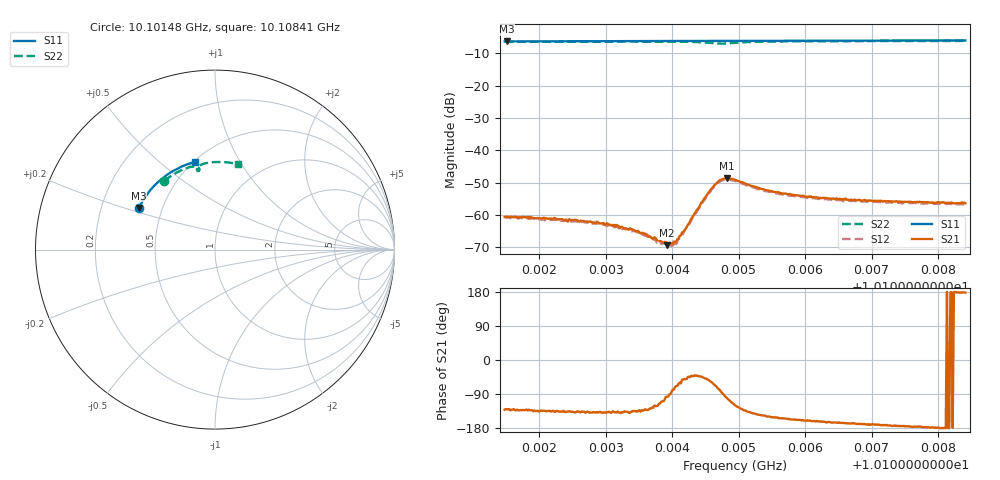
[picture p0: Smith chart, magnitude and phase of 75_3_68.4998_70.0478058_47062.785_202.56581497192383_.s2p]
#  HZ  S  RI  R  50.00
! Rohde & Schwarz Vector Network Analyzer
! Rohde-Schwarz,ZNB20-2Port,1311601062101988,3.16
! Created: UTC 3/20/2024, 5:07:04 PM
! freq[Hz]  re:S11  im:S11  re:S21  im:S21  re:S12  im:S12  re:S22  im:S22
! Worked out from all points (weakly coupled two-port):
!   401 points, 10.10148 GHz to 10.10841 GHz, reference 50 ohm
!   highest |S21| = -48.64 dB at 10.10482 GHz (marker M1); lowest = -69.4 dB at 10.10392 GHz (marker M2)
!   lowest |S11| = -6.3 dB at 10.10151 GHz (marker M3), VSWR 2.87, Z = 18.4 + j11.1 ohm
!   |S11| at or under -10 dB: nowhere
!   |S22| runs from -7.0 to -6.1 dB; largest |S21 - S12| = 0.00037
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1.0101479e10  -0.4252 0.2298  -0.000614 -0.000699  -0.000538 -0.000735  -0.2827 0.3826
1.0101514e10  -0.424 0.2317  -0.000593 -0.000713  -0.000533 -0.000727  -0.2811 0.3839
1.0102641e10  -0.3902 0.2911  -0.000575 -0.000556  -0.000522 -0.000578  -0.2202 0.4255
1.0103057e10  -0.3757 0.3118  -0.000519 -0.000486  -0.000473 -0.000493  -0.1958 0.4382
1.0103403e10  -0.3624 0.3284  -0.000419 -0.000429  -0.000375 -0.00043  -0.1744 0.4478
1.0103594e10  -0.355 0.3373  -0.00033 -0.000394  -0.000274 -0.000386  -0.162 0.4528
1.0103681e10  -0.3517 0.3413  -0.000277 -0.000356  -0.000233 -0.000377  -0.1562 0.4545
1.0103802e10  -0.3465 0.3467  -0.000171 -0.00036  -0.000123 -0.000387  -0.148 0.4572
1.0103923e10  -0.3417 0.3521  -4.17e-05 -0.000338  -1.88e-05 -0.000352  -0.1392 0.4596
1.0103992e10  -0.3388 0.3551  3.66e-05 -0.000361  8.02e-05 -0.000319  -0.1342 0.4608
1.0104027e10  -0.3373 0.3567  8.29e-05 -0.000378  0.000103 -0.000334  -0.1313 0.4611
1.0104096e10  -0.3344 0.3596  0.000195 -0.00038  0.000209 -0.00037  -0.1261 0.4621
1.0104218e10  -0.3292 0.3649  0.000412 -0.000499  0.000475 -0.000452  -0.116 0.4628
1.010446e10  -0.3185 0.3749  0.00114 -0.00116  0.00118 -0.00104  -0.0947 0.458
1.0104616e10  -0.3114 0.3813  0.00126 -0.00241  0.00145 -0.00219  -0.0861 0.4461
1.010472e10  -0.3068 0.3853  0.0006 -0.00342  0.000831 -0.00316  -0.0899 0.4382
1.0104824e10  -0.302 0.3893  -0.000662 -0.00364  -0.00034 -0.00354  -0.0979 0.4394
1.0104946e10  -0.2966 0.3941  -0.00173 -0.00305  -0.00136 -0.00307  -0.1006 0.4497
1.0105414e10  -0.2743 0.4116  -0.00206 -0.00126  -0.00185 -0.00141  -0.0716 0.4752
1.0106107e10  -0.2392 0.4347  -0.00177 -0.000593  -0.00166 -0.000755  -0.0233 0.4859
1.0107268e10  -0.1766 0.4666  -0.00162 -0.00021  -0.00152 -0.000331  0.0533 0.4875
1.0108412e10  -0.1111 0.4884  -0.00151 5.85e-05  -0.00144 -0.000107  0.126 0.4766
